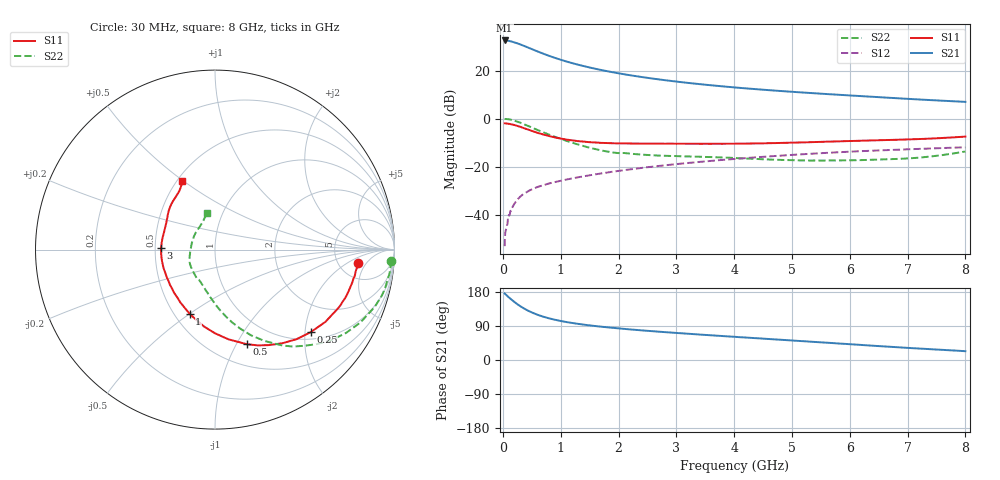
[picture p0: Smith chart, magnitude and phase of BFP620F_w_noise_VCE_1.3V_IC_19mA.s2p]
! Infineon Technologies  Discrete & RF Semiconductors
! BFP620F
! VCE =  1.3 V,  IC =  19 mA
! Common Emitter S-Parameters:  Dec 2014
# GHz  S  MA  R  50
!  f  S11  S21  S12  S22
! GHz  MAG  ANG  MAG  ANG  MAG  ANG  MAG  ANG
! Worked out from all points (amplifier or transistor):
!   95 points, 30 MHz to 8 GHz, reference 50 ohm
!   highest |S21| = 32.6 dB at 30 MHz (marker M1)
!   |S21| within 3 dB of that: start of sweep to 440 MHz
!   unconditionally stable (mu >= 1): 3.083 GHz to end of sweep
!   at 300 MHz: K = 0.27, MSG = 31.7 dB, |S12| = -32.5 dB
!   at 3.3 GHz: K = 1.01, MAG = 15.9 dB, |S12| = -18.3 dB
!   at 8 GHz: K = 1.07, MAG = 7.9 dB, |S12| = -11.9 dB
!   lowest NFmin = 0.81 dB at 450 MHz
!   S11 on the Smith chart (normalised r, x): 30 MHz: 7.66, -3.13; 250 MHz: 1.17, -2.14; 500 MHz: 0.72, -1.10; 1 GHz: 0.60, -0.50; 3 GHz: 0.54, +0.01; 8 GHz: 0.53, +0.49
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0.03  0.7992 -5.3  42.51 175.6  0.0022 77.5  0.9831 -3.7
0.08  0.7862 -13.7  42.09 168.5  0.0064 73.0  0.9745 -10.7
0.15  0.7598 -25.5  40.37 159.2  0.0132 79.5  0.9416 -20.3
0.2  0.7348 -33.3  38.69 153.1  0.0169 75.0  0.9063 -26.6
0.25  0.704 -40.8  37.02 147.3  0.0205 72.5  0.8656 -32.4
0.3  0.6747 -47.7  35.2 142.1  0.0237 69.8  0.8226 -37.8
0.35  0.6426 -54.3  33.27 137.4  0.0266 67.2  0.7771 -42.6
0.4  0.6108 -60.6  31.53 133.0  0.0288 65.9  0.7325 -47.0
0.5  0.5555 -71.5  28.1 125.5  0.0336 62.5  0.653 -54.9
0.6  0.5059 -81.4  25.08 119.3  0.0377 60.6  0.5794 -61.5
0.7  0.4663 -90.0  22.51 114.2  0.041 59.2  0.5181 -67.2
0.8  0.4336 -97.9  20.3 109.9  0.0446 58.6  0.4641 -72.1
1  0.3847 -111.5  16.85 103.0  0.0507 57.7  0.379 -80.6
1.2  0.3524 -123.1  14.32 97.7  0.0568 57.6  0.3155 -88.2
1.4  0.3317 -133.3  12.41 93.3  0.0629 57.3  0.2671 -95.5
2  0.3051 -156.9  8.802 83.5  0.0814 56.6  0.191 -117.8
2.7  0.301 -175.3  6.56 74.7  0.1033 54.3  0.1697 -137.4
3  0.2999 178.4  5.918 71.4  0.1127 53.1  0.1658 -143.7
4.1  0.3011 159.7  4.371 60.2  0.1473 47.8  0.1494 -161.5
5.4  0.3252 144.2  3.368 47.6  0.1874 39.7  0.1341 170.4
6.7  0.3595 129.8  2.71 34.9  0.222 30.5  0.1429 138.3
8  0.4223 115.5  2.234 23.2  0.2528 21.5  0.2064 102.8
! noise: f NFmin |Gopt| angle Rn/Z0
0.45  0.81  0.06  3  0.21
0.9  0.87  0.06  11  0.18
1.5  0.92  0.06  12  0.14
1.8  0.94  0.05  14  0.14
1.9  0.95  0.03  31  0.16
2.4  0.98  0.02  68  0.15
3.5  1.06  0.03  160  0.14
5.5  1.2  0.14  227  0.1
6  1.23  0.14  248  0.14
